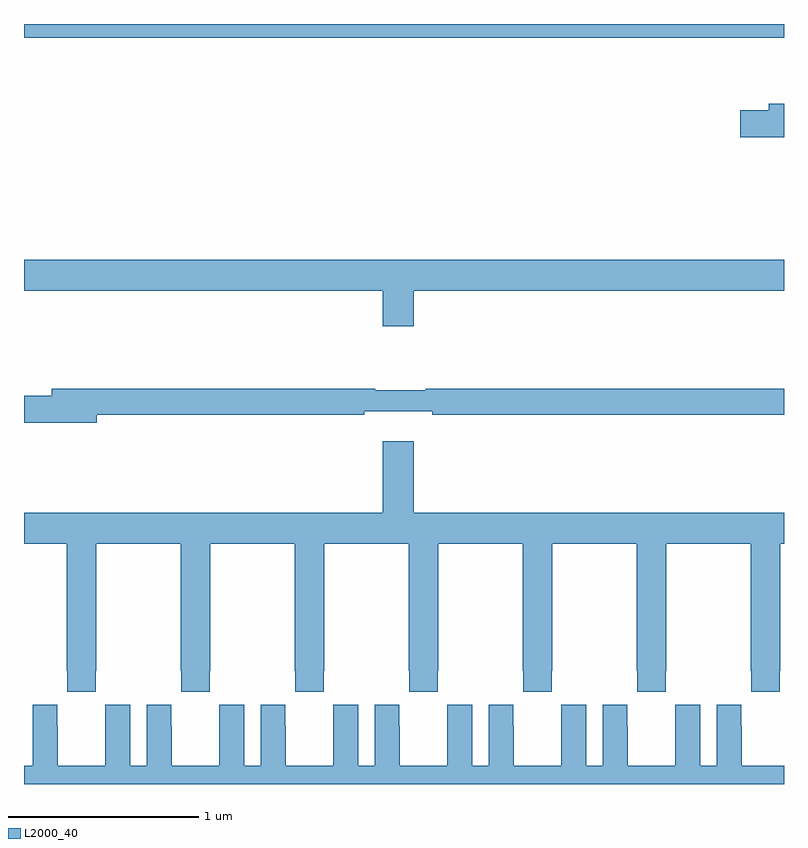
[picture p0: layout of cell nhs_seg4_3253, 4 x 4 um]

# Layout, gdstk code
import gdstk
lib = gdstk.Library(unit=1e-6, precision=1e-09)
def R(c, l, rs):  # rectangles x0, y0, x1, y1
    for r in rs: c.add(gdstk.rectangle(r[:2], r[2:], *l))
def P(c, l, *ps):  # polygons
    for p in ps: c.add(gdstk.Polygon(p, *l))
L2000_40 = (2000, 40)

nhs_seg4_3253 = lib.new_cell('nhs_seg4_3253')
R(nhs_seg4_3253, L2000_40, [(283,788.828,287,788.9)])
P(nhs_seg4_3253, L2000_40, [(287,788.479),(286.919,788.479),(286.919,788.445),(286.77,788.445),(286.77,788.303),(287,788.303)],
  [(285.052,787.496),(287,787.496),(287,787.66),(283,787.66),(283,787.496),(284.888,787.496),(284.888,787.308),(285.052,787.308)],
  [(283.384,786.844),(284.792,786.844),(284.792,786.863),(285.148,786.863),(285.148,786.844),(287,786.844),(287,786.98),(285.115,786.98),(285.115,786.973),(284.849,786.973),(284.849,786.98),(283.145,786.98),(283.145,786.944),(283,786.944),(283,786.802),(283.384,786.802)],
  [(285.052,786.703),(284.888,786.703),(284.888,786.328),(283,786.328),(283,786.164),(283.225,786.164),(283.225,785.497),(283.227,785.497),(283.227,785.385),(283.377,785.385),(283.377,785.497),(283.38,785.497),(283.38,786.164),(283.825,786.164),(283.825,785.497),(283.827,785.497),(283.827,785.385),(283.977,785.385),(283.977,785.497),(283.98,785.497),(283.98,786.164),(284.425,786.164),(284.425,785.497),(284.427,785.497),(284.427,785.385),(284.577,785.385),(284.577,785.497),(284.58,785.497),(284.58,786.164),(285.025,786.164),(285.025,785.497),(285.027,785.497),(285.027,785.385),(285.177,785.385),(285.177,785.497),(285.18,785.497),(285.18,786.164),(285.625,786.164),(285.625,785.497),(285.627,785.497),(285.627,785.385),(285.777,785.385),(285.777,785.497),(285.78,785.497),(285.78,786.164),(286.225,786.164),(286.225,785.497),(286.227,785.497),(286.227,785.385),(286.377,785.385),(286.377,785.497),(286.38,785.497),(286.38,786.164),(286.825,786.164),(286.825,785.497),(286.827,785.497),(286.827,785.385),(286.977,785.385),(286.977,785.497),(286.98,785.497),(286.98,786.164),(287,786.164),(287,786.328),(285.052,786.328)],
  [(287,784.996),(286.777,784.996),(286.777,785.204),(286.776,785.204),(286.776,785.317),(286.646,785.317),(286.646,784.996),(286.558,784.996),(286.558,785.317),(286.428,785.317),(286.428,785.204),(286.427,785.204),(286.427,784.996),(286.177,784.996),(286.177,785.204),(286.176,785.204),(286.176,785.317),(286.046,785.317),(286.046,784.996),(285.958,784.996),(285.958,785.317),(285.828,785.317),(285.828,785.204),(285.827,785.204),(285.827,784.996),(285.577,784.996),(285.577,785.204),(285.576,785.204),(285.576,785.317),(285.446,785.317),(285.446,784.996),(285.358,784.996),(285.358,785.317),(285.228,785.317),(285.228,785.204),(285.227,785.204),(285.227,784.996),(284.977,784.996),(284.977,785.204),(284.976,785.204),(284.976,785.317),(284.846,785.317),(284.846,784.996),(284.758,784.996),(284.758,785.317),(284.628,785.317),(284.628,785.204),(284.627,785.204),(284.627,784.996),(284.377,784.996),(284.377,785.204),(284.376,785.204),(284.376,785.317),(284.246,785.317),(284.246,784.996),(284.158,784.996),(284.158,785.317),(284.028,785.317),(284.028,785.204),(284.027,785.204),(284.027,784.996),(283.777,784.996),(283.777,785.204),(283.776,785.204),(283.776,785.317),(283.646,785.317),(283.646,784.996),(283.558,784.996),(283.558,785.317),(283.428,785.317),(283.428,785.204),(283.427,785.204),(283.427,784.996),(283.177,784.996),(283.177,785.204),(283.176,785.204),(283.176,785.317),(283.046,785.317),(283.046,784.996),(283,784.996),(283,784.9),(287,784.9)])

lib.write_gds('nhs_seg4_3253.gds')
